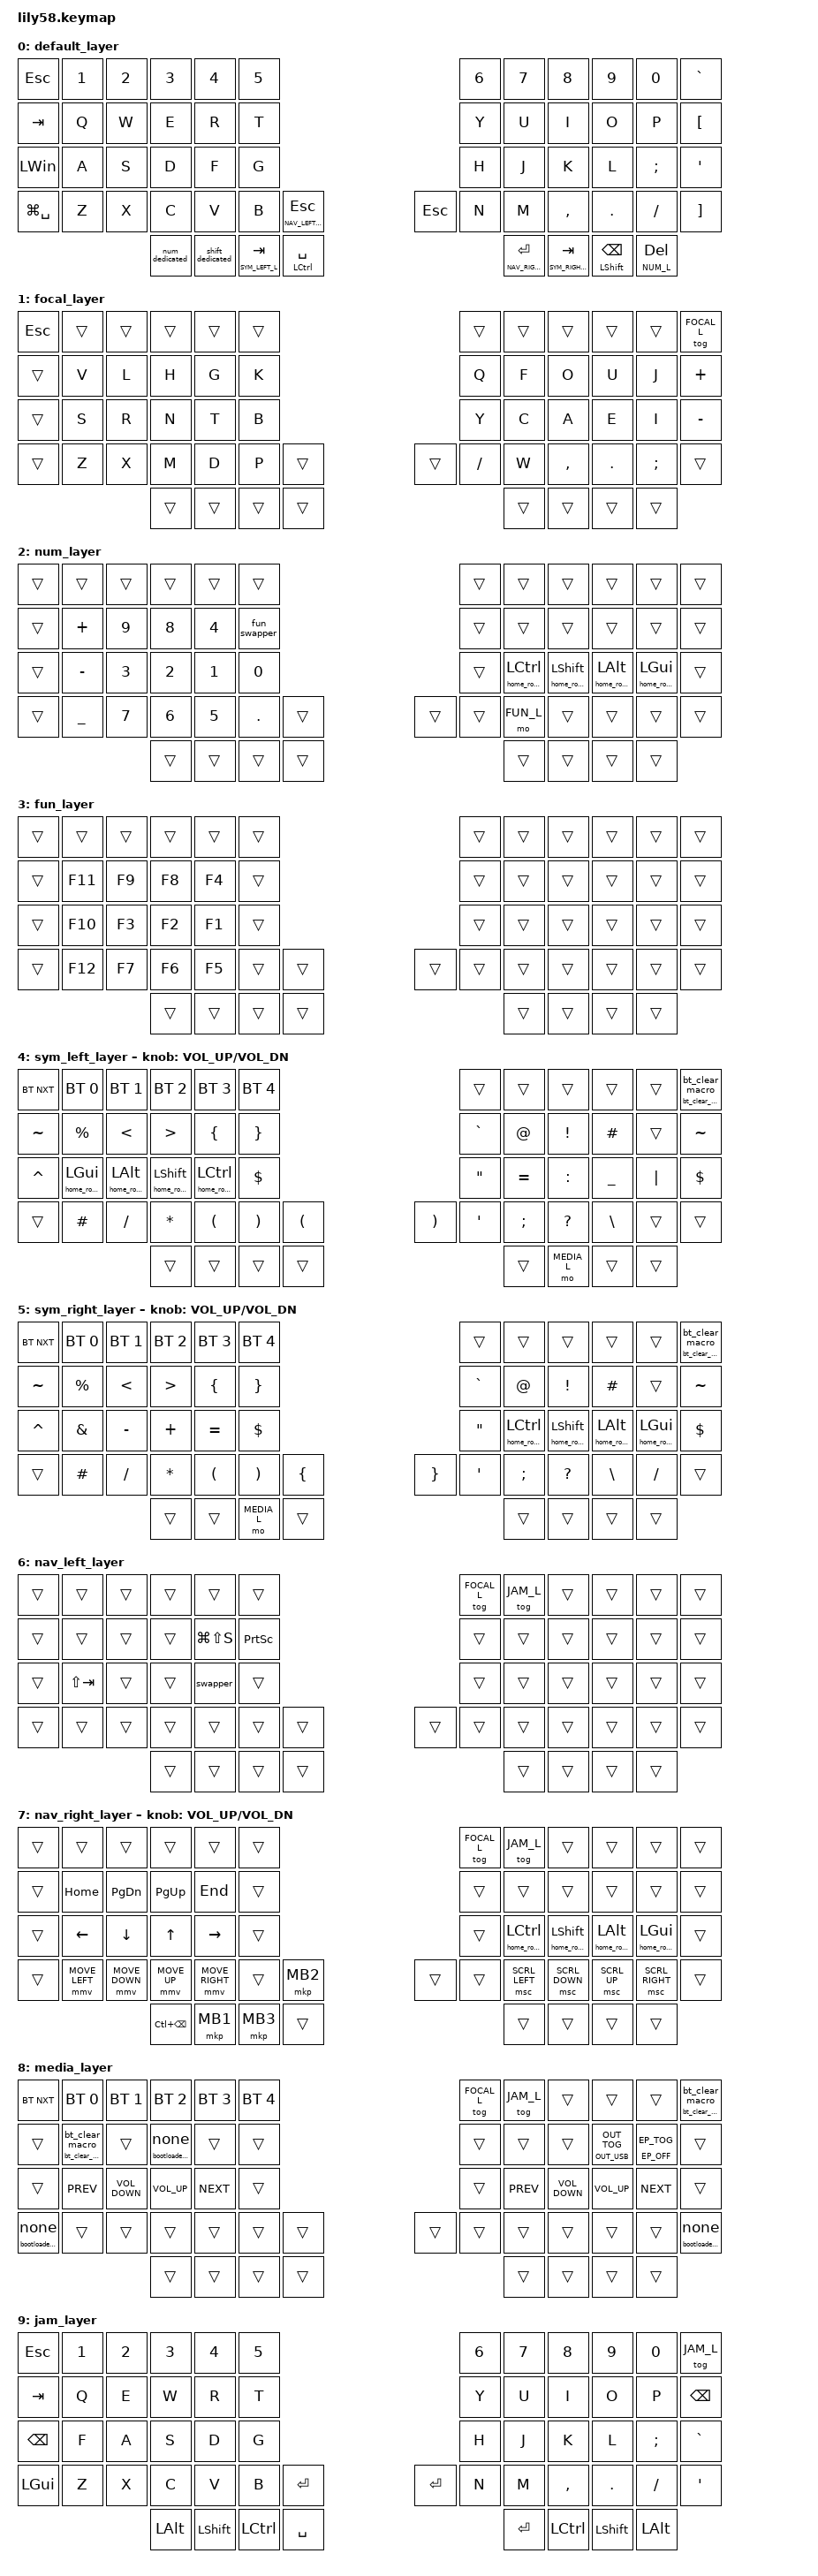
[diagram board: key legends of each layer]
/*
 * Copyright (c) 2020 The ZMK Contributors
 *
 * SPDX-License-Identifier: MIT
 */

#include <dt-bindings/zmk/mouse.h>
#include <input/processors.dtsi>
#include <behaviors.dtsi>
#include <dt-bindings/zmk/bt.h>
#include <dt-bindings/zmk/ext_power.h>
#include <dt-bindings/zmk/keys.h>
#include <dt-bindings/zmk/outputs.h>
#include <dt-bindings/zmk/pointing.h>
#include <behaviors/num_word.dtsi>

#define QWERTY_L    0
#define FOCAL_L     1
#define NUM_L       2
#define FUN_L       3
#define SYM_LEFT_L  4
#define SYM_RIGHT_L 5
#define NAV_LEFT_L  6
#define NAV_RIGHT_L 7
#define MEDIA_L     8
#define JAM_L       9

#define DANGER_DELAY 3000
#define TAPPING_INTERVAL 250
#define QUICK_TAP_INTERVAL 200
#define PRIOR_IDLE_INTERVAL 40

/ {
    behaviors {
        home_row_sticky: home_row_sticky {
            compatible = "zmk,behavior-sticky-key";
            label = "HOME_ROW_STICKY";
            bindings = <&kp>;
            #binding-cells = <1>;
            release-after-ms = <1000>;
            quick-release;
            ignore-modifiers;
        };

        shift_dedicated: shift_dedicated {
            compatible = "zmk,behavior-tap-dance";
            label = "SHIFT_DEDICATED";
            #binding-cells = <0>;
            bindings = <&sticky_shift LSHIFT>, <&caps_word>;
        };

        sticky_shift: sticky_shift {
            compatible = "zmk,behavior-sticky-key";
            label = "STICKY_SHIFT";
            bindings = <&sk>;
            #binding-cells = <1>;
            release-after-ms = <600>;
            quick-release;
            ignore-modifiers;
        };

        num_dedicated: num_dedicated {
            compatible = "zmk,behavior-tap-dance";
            label = "NUM_DEDICATED";
            #binding-cells = <0>;
            bindings = <&num_word NUM_L>, <&mo NUM_L>;
        };

        thumb_key_layer: thumb_key_layer {
            compatible = "zmk,behavior-hold-tap";
            label = "THUMB_KEY_LAYER";
            bindings = <&mo>, <&kp>;

            #binding-cells = <2>;
            tapping-term-ms = <TAPPING_INTERVAL>;
            quick-tap-ms = <QUICK_TAP_INTERVAL>;
            require-prior-idle-ms = <PRIOR_IDLE_INTERVAL>;
            hold-while-undecided;
        };

        thumb_key_mod: thumb_key_mod {
            compatible = "zmk,behavior-hold-tap";
            label = "THUMB_KEY_MOD";
            bindings = <&kp>, <&kp>;

            #binding-cells = <2>;
            tapping-term-ms = <TAPPING_INTERVAL>;
            quick-tap-ms = <QUICK_TAP_INTERVAL>;
            require-prior-idle-ms = <0>;
            hold-while-undecided;
        };

        thumb_active_key_mod: thumb_active_key_mod {
            compatible = "zmk,behavior-hold-tap";
            label = "THUMB_ACTIVE_KEY_MOD";
            bindings = <&kp>, <&kp>;

            #binding-cells = <2>;
            tapping-term-ms = <TAPPING_INTERVAL>;
            quick-tap-ms = <QUICK_TAP_INTERVAL>;
            require-prior-idle-ms = <PRIOR_IDLE_INTERVAL>;
            hold-while-undecided;
        };

        thumb_active_key_layer: thumb_active_key_layer {
            compatible = "zmk,behavior-hold-tap";
            label = "THUMB_ACTIVE_KEY_LAYER";
            bindings = <&mo>, <&kp>;

            #binding-cells = <2>;
            tapping-term-ms = <TAPPING_INTERVAL>;
            quick-tap-ms = <QUICK_TAP_INTERVAL>;
            require-prior-idle-ms = <PRIOR_IDLE_INTERVAL>;
            hold-while-undecided;
        };

        bt_or_reset_hold: bt_or_reset_hold {
            compatible = "zmk,behavior-hold-tap";
            label = "BT_OR_RESET_HOLD";
            bindings = <&bt_clear_macro>, <&bt>;

            #binding-cells = <2>;
            tapping-term-ms = <DANGER_DELAY>;
            flavor = "tap-preferred";
        };

        bt_reset_hold: bt_reset_hold {
            compatible = "zmk,behavior-hold-tap";
            label = "BT_RESET_HOLD";
            bindings = <&bt_clear_all_macro>, <&bt_clear_macro>;

            #binding-cells = <2>;
            tapping-term-ms = <DANGER_DELAY>;
            flavor = "tap-preferred";
        };

        bootloader_reset_hold: bootloader_reset_hold {
            compatible = "zmk,behavior-hold-tap";
            label = "BOOTLOADER_RESET_HOLD";
            bindings = <&bootloader_reset_macro>, <&none>;

            #binding-cells = <2>;
            tapping-term-ms = <DANGER_DELAY>;
            flavor = "tap-preferred";
        };

        output_hold: output_hold {
            compatible = "zmk,behavior-hold-tap";
            label = "OUTPUT_HOLD";
            bindings = <&out>, <&out>;

            #binding-cells = <2>;
            flavor = "tap-preferred";
            tapping-term-ms = <DANGER_DELAY>;
        };

        ext_power_hold: ext_power_hold {
            compatible = "zmk,behavior-hold-tap";
            label = "EXT_POWER_HOLD";
            bindings = <&ext_power>, <&ext_power>;

            #binding-cells = <2>;
            tapping-term-ms = <DANGER_DELAY>;
            flavor = "tap-preferred";
        };

        swapper: swapper {
            compatible = "zmk,behavior-smart-toggle";
            #binding-cells = <0>;
            bindings = <&kp LALT>, <&kp TAB>;

            ignored-key-positions = <25>; // "A" for alt-tab back
        };

        fun_swapper: fun_swapper {
            compatible = "zmk,behavior-smart-toggle";
            #binding-cells = <0>;
            bindings = <&mo FUN_L>, <&none>;

            ignored-key-positions =
                <13>,
                <14>,
                <15>,
                <16>,
                <25>,
                <26>,
                <27>,
                <28>,
                <37>,
                <38>,
                <39>,
                <40>;

            // F-keys
        };
    };

    macros {
        bt_clear_macro: bt_clear_macro {
            compatible = "zmk,behavior-macro";
            #binding-cells = <0>;
            bindings = <&bt BT_CLR>;
            label = "BT_CLEAR_MACRO";
        };

        bt_clear_all_macro: bt_clear_all_macro {
            compatible = "zmk,behavior-macro";
            #binding-cells = <0>;
            bindings = <&bt BT_CLR_ALL>;
            label = "BT_CLEAR_ALL_MACRO";
        };

        sys_reset_macro: sys_reset_macro {
            compatible = "zmk,behavior-macro";
            #binding-cells = <0>;
            bindings = <&sys_reset>;
            label = "SYS_RESET_MACRO";
        };

        bootloader_reset_macro: bootloader_reset_macro {
            compatible = "zmk,behavior-macro";
            #binding-cells = <0>;
            bindings = <&bootloader>;
            label = "BOOTLOADER_RESET_MACRO";
        };
    };

    keymap {
        compatible = "zmk,keymap";

        default_layer {
            // ------------------------------------------------------------------------------------------------------------
            // |  ESC  |  1  |  2  |  3   |  4   |  5   |                   |  6   |  7    |  8    |  9   |   0   |   `   |
            // |  TAB  |  Q  |  W  |  E   |  R   |  T   |                   |  Y   |  U    |  I    |  O   |   P   |   -   |
            // |  CTRL |  A  |  S  |  D   |  F   |  G   |                   |  H   |  J    |  K    |  L   |   ;   |   '   |
            // | SHIFT |  Z  |  X  |  C   |  V   |  B   |   "["  |  |  "]"  |  N   |  M    |  ,    |  .   |   /   | SHIFT |
            //                     | ALT  | GUI  | LOWER|  SPACE |  | ENTER | RAISE| BSPC  | GUI   |

            bindings = <
&kp ESC       &kp N1  &kp N2  &kp N3                  &kp N4            &kp N5                                                                &kp N6            &kp N7                                &kp N8               &kp N9   &kp N0    &kp GRAVE
&kp TAB       &kp Q   &kp W   &kp E                   &kp R             &kp T                                                                 &kp Y             &kp U                                 &kp I                &kp O    &kp P     &kp LEFT_BRACKET
&kp LEFT_WIN  &kp A   &kp S   &kp D                   &kp F             &kp G                                                                 &kp H             &kp J                                 &kp K                &kp L    &kp SEMI  &kp SQT
&kp LG(SPACE) &kp Z   &kp X   &kp C                   &kp V             &kp B             &thumb_key_layer NAV_LEFT_L ESC                     &kp ESC           &kp N             &kp M                                 &kp COMMA            &kp DOT  &kp SLASH  &kp RIGHT_BRACKET
                              &num_dedicated          &shift_dedicated  &thumb_key_layer SYM_LEFT_L TAB  &thumb_active_key_mod LCTRL SPACE    &thumb_active_key_layer NAV_RIGHT_L ENTER  &thumb_key_layer SYM_RIGHT_L TAB &thumb_key_mod LSHIFT BACKSPACE  &thumb_key_layer NUM_L DELETE
            >;
        };

        focal_layer {
            bindings = <
&kp ESC  &trans  &trans  &trans  &trans  &trans                    &trans     &trans  &trans     &trans   &trans    &tog FOCAL_L
&trans   &kp V   &kp L   &kp H   &kp G   &kp K                     &kp Q      &kp F   &kp O      &kp U    &kp J     &kp PLUS
&trans   &kp S   &kp R   &kp N   &kp T   &kp B                     &kp Y      &kp C   &kp A      &kp E    &kp I     &kp MINUS
&trans   &kp Z   &kp X   &kp M   &kp D   &kp P   &trans    &trans  &kp SLASH  &kp W   &kp COMMA  &kp DOT  &kp SEMI  &trans
                         &trans  &trans  &trans  &trans    &trans  &trans     &trans  &trans
            >;
        };

        num_layer {
            bindings = <
&trans  &trans          &trans        &trans        &trans        &trans                        &trans  &trans                  &trans                       &trans                     &trans                     &trans
&trans  &kp PLUS        &kp N9        &kp N8        &kp N4        &fun_swapper                  &trans  &trans                  &trans                       &trans                     &trans                     &trans
&trans  &kp MINUS       &kp N3        &kp N2        &kp N1        &kp N0                        &trans  &home_row_sticky LCTRL  &home_row_sticky LEFT_SHIFT  &home_row_sticky LEFT_ALT  &home_row_sticky LEFT_GUI  &trans
&trans  &kp UNDERSCORE  &kp N7        &kp N6        &kp N5        &kp DOT     &trans    &trans  &trans  &mo FUN_L               &trans                       &trans                     &trans                     &trans
                                      &trans        &trans        &trans      &trans    &trans  &trans  &trans                  &trans
            >;
        };

        fun_layer {
            bindings = <
&trans  &trans   &trans  &trans  &trans  &trans                    &trans  &trans  &trans  &trans  &trans  &trans
&trans  &kp F11  &kp F9  &kp F8  &kp F4  &trans                    &trans  &trans  &trans  &trans  &trans  &trans
&trans  &kp F10  &kp F3  &kp F2  &kp F1  &trans                    &trans  &trans  &trans  &trans  &trans  &trans
&trans  &kp F12  &kp F7  &kp F6  &kp F5  &trans  &trans    &trans  &trans  &trans  &trans  &trans  &trans  &trans
                         &trans  &trans  &trans  &trans    &trans  &trans  &trans  &trans
            >;
        };

        sym_left_layer {
            // ------------------------------------------------------------------------------------------------------------
            // | BTCLR | BT1 | BT2 |  BT3 |  BT4 |  BT5 |                   |      |       |       |      |       |       |
            // |  F1   |  F2 |  F3 |  F4  |  F5  |  F6  |                   |  F7  |  F8   |  F9   |  F10 |  F11  |  F12  |
            // |   `   |  !  |  @  |  #   |  $   |  %   |                   |  ^   |  &    |  *    |  (   |   )   |   ~   |
            // |       |     |     |      |      |      |        |  |       |      |  _    |  +    |  {   |   }   |  "|"  |
            //                     |      |      |      |        |  |       |      |       |       |

            bindings = <
&bt BT_NXT  &bt BT_SEL 0               &bt BT_SEL 1               &bt BT_SEL 2                 &bt BT_SEL 3            &bt BT_SEL 4                                         &trans             &trans         &trans        &trans            &trans       &bt_reset_hold 0 0
&kp TILDE   &kp PERCENT                &kp LT                     &kp GT                       &kp LEFT_BRACE          &kp RIGHT_BRACE                                      &kp GRAVE          &kp AT         &kp EXCL      &kp HASH          &trans       &kp TILDE
&kp CARET   &home_row_sticky LEFT_GUI  &home_row_sticky LEFT_ALT  &home_row_sticky LEFT_SHIFT  &home_row_sticky LCTRL  &kp DOLLAR                                           &kp DOUBLE_QUOTES  &kp EQUAL      &kp COLON     &kp UNDER         &kp PIPE     &kp DOLLAR
&trans      &kp HASH                   &kp SLASH                  &kp ASTERISK                 &kp LEFT_PARENTHESIS    &kp RIGHT_PARENTHESIS          &kp LPAR    &kp RPAR  &kp SINGLE_QUOTE   &kp SEMICOLON  &kp QUESTION  &kp BACKSLASH     &trans       &trans
                                                                  &trans                       &trans                  &trans                         &trans      &trans    &mo MEDIA_L        &trans         &trans
            >;

            sensor-bindings = <&inc_dec_kp C_VOL_UP C_VOL_DN>;
        };

        sym_right_layer {
            bindings = <
&bt BT_NXT  &bt BT_SEL 0   &bt BT_SEL 1   &bt BT_SEL 2      &bt BT_SEL 3          &bt BT_SEL 4                                                    &trans             &trans                  &trans                  &trans                     &trans                 &bt_reset_hold 0 0
&kp TILDE   &kp PERCENT    &kp LT         &kp GT            &kp LEFT_BRACE        &kp RIGHT_BRACE                                                 &kp GRAVE          &kp AT_SIGN             &kp EXCL                &kp HASH                   &trans                 &kp TILDE
&kp CARET   &kp AMPERSAND  &kp MINUS      &kp PLUS          &kp EQUAL             &kp DOLLAR                                                      &kp DOUBLE_QUOTES  &home_row_sticky LCTRL  &home_row_sticky LSHFT  &home_row_sticky LEFT_ALT  &home_row_sticky LGUI  &kp DOLLAR
&trans      &kp HASH       &kp SLASH      &kp ASTERISK      &kp LEFT_PARENTHESIS  &kp RIGHT_PARENTHESIS        &kp LEFT_BRACE    &kp RIGHT_BRACE  &kp SINGLE_QUOTE   &kp SEMICOLON           &kp QUESTION            &kp BACKSLASH              &kp SLASH              &trans
                                          &trans            &trans                &mo MEDIA_L                  &trans            &trans           &trans             &trans                  &trans
            >;

            sensor-bindings = <&inc_dec_kp C_VOL_UP C_VOL_DN>;
        };

        nav_left_layer {
            bindings = <
&trans  &trans          &trans          &trans        &trans           &trans                    &tog FOCAL_L  &tog JAM_L  &trans  &trans  &trans  &trans
&trans  &trans          &trans          &trans        &kp LG(LS(S))    &kp PRINTSCREEN           &trans  &trans  &trans  &trans  &trans  &trans
&trans  &kp LS(TAB)     &trans          &trans        &swapper         &trans                    &trans  &trans  &trans  &trans  &trans  &trans
&trans  &trans          &trans          &trans        &trans           &trans  &trans    &trans  &trans  &trans  &trans  &trans  &trans  &trans
                                        &trans        &trans           &trans  &trans    &trans  &trans  &trans  &trans
            >;
        };

        nav_right_layer {
            // ------------------------------------------------------------------------------------------------------------
            // |       |     |     |      |      |      |                   |      |       |       |      |       |       |
            // |   `   |  1  |  2  |  3   |  4   |  5   |                   |  6   |   7   |   8   |  9   |   0   |       |
            // |   F1  |  F2 |  F3 |  F4  |  F5  |  F6  |                   |      |   <-  |   v   |  ^   |  ->   |       |
            // |   F7  |  F8 |  F9 |  F10 |  F11 |  F12 |        |  |       |  +   |   -   |   =   |  [   |   ]   |   \   |
            //                     |      |      |      |        |  |       |      |       |       |

            bindings = <
&trans     &trans          &trans          &trans            &trans           &trans                      &tog FOCAL_L  &tog JAM_L              &trans                       &trans                     &trans                 &trans
&trans     &kp HOME        &kp PAGE_DOWN   &kp PAGE_UP       &kp END          &trans                      &trans        &trans                  &trans                       &trans                     &trans                 &trans
&trans     &kp LEFT_ARROW  &kp DOWN_ARROW  &kp UP_ARROW      &kp RIGHT_ARROW  &trans                      &trans        &home_row_sticky LCTRL  &home_row_sticky LEFT_SHIFT  &home_row_sticky LEFT_ALT  &home_row_sticky LGUI  &trans
&trans     &mmv MOVE_LEFT  &mmv MOVE_DOWN  &mmv MOVE_UP      &mmv MOVE_RIGHT  &trans  &mkp MB2    &trans  &trans        &msc SCRL_LEFT          &msc SCRL_DOWN               &msc SCRL_UP               &msc SCRL_RIGHT        &trans
                                           &kp LC(BACKSPACE) &mkp MB1         &mkp MB3                    &trans        &trans                  &trans                       &trans                     &trans
            >;

            sensor-bindings = <&inc_dec_kp C_VOL_UP C_VOL_DN>;
        };

        media_layer {
            bindings = <
&bt BT_NXT                  &bt BT_SEL 0        &bt BT_SEL 1         &bt BT_SEL 2                &bt BT_SEL 3   &bt BT_SEL 4                    &tog FOCAL_L &tog JAM_L &trans            &trans                         &trans                         &bt_reset_hold 0 0
&trans                      &bt_reset_hold 0 0  &trans               &bootloader_reset_hold 0 0  &trans         &trans                          &trans       &trans      &trans            &output_hold OUT_USB OUT_TOG  &ext_power_hold EP_OFF EP_TOG  &trans
&trans                      &kp C_PREV          &kp C_VOLUME_DOWN    &kp C_VOLUME_UP             &kp C_NEXT     &trans                          &trans       &kp C_PREV  &kp C_VOLUME_DOWN &kp C_VOLUME_UP               &kp C_NEXT                     &trans
&bootloader_reset_hold 0 0  &trans              &trans               &trans                      &trans         &trans        &trans    &trans  &trans       &trans      &trans            &trans                        &trans                         &bootloader_reset_hold 0 0
                                                                     &trans                      &trans         &trans        &trans    &trans  &trans       &trans      &trans
            >;
        };

        jam_layer {
            bindings = <
&kp ESC        &kp N1  &kp N2  &kp N3    &kp N4          &kp N5                             &kp N6     &kp N7          &kp N8     &kp N9   &kp N0    &tog JAM_L
&kp TAB        &kp Q   &kp E   &kp W     &kp R           &kp T                              &kp Y      &kp U           &kp I      &kp O    &kp P     &kp BSPC
&kp BACKSPACE  &kp F   &kp A   &kp S     &kp D           &kp G                              &kp H      &kp J           &kp K      &kp L    &kp SEMI  &kp GRAVE
&kp LGUI       &kp Z   &kp X   &kp C     &kp V           &kp B      &kp ENTER    &kp ENTER  &kp N      &kp M           &kp COMMA  &kp DOT  &kp FSLH  &kp APOS
                               &kp LALT  &kp LEFT_SHIFT  &kp LCTRL  &kp SPACE    &kp ENTER  &kp LCTRL  &kp LEFT_SHIFT  &kp LALT
            >;
        };
    };
};
